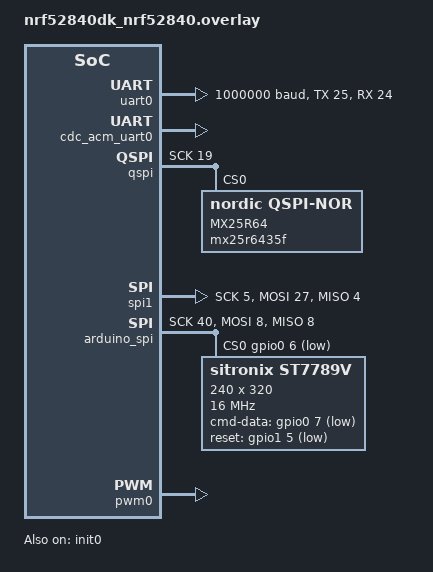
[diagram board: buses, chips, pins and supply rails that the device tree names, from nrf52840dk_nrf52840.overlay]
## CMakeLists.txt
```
#
# Copyright (c) 2018 Nordic Semiconductor
#
# SPDX-License-Identifier: LicenseRef-Nordic-5-Clause
#
cmake_minimum_required(VERSION 3.13.1)

find_package(Zephyr REQUIRED HINTS $ENV{ZEPHYR_BASE})
project(sc_test)

# NORDIC SDK APP START
FILE(GLOB app_sources src/*.c ../dev_fw/src/*.c  ../dev_fw/dev_h/nRF52840_pin_def.h ../dev_fw/inc/*.h )

target_sources(app PRIVATE ${app_sources})

zephyr_include_directories( ${APPLICATION_SOURCE_DIR}/../dev_fw/inc ${APPLICATION_SOURCE_DIR}/../dev_fw/dev_h ${APPLICATION_SOURCE_DIR}/../test )
```

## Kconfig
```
#
# Copyright (c) 2018 Nordic Semiconductor
#
# SPDX-License-Identifier: LicenseRef-Nordic-5-Clause
#

config BT_NUS_THREAD_STACK_SIZE
	int "Thread stack size"
	default 2048
	help
	  Stack size used in each of the two threads

config BT_NUS_UART_BUFFER_SIZE
	int "UART payload buffer element size"
	default 20
	help
	  Size of the payload buffer in each RX and TX FIFO element

config BT_NUS_UART_RX_WAIT_TIME
	int "Timeout for UART RX complete event"
	default 50
	help
	  Wait for RX complete event time in milliseconds

config BT_NUS_SECURITY_ENABLED
	bool "Enable security"
	default n
	select BT_SMP
	help
	  "Enable BLE security for the UART service"

source "Kconfig.zephyr"
```

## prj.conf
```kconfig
#
# Copyright (c) 2018 Nordic Semiconductor
#
# SPDX-License-Identifier: LicenseRef-Nordic-5-Clause
#

# Enable CPU tracing
CONFIG_CPU_LOAD=n
CONFIG_CPU_LOAD_LOG_INTERVAL=1000
CONFIG_CPU_LOAD_LOG_PERIODIC=n


# Virtual COM
CONFIG_USB_COMPOSITE_DEVICE=y
CONFIG_USB_DFU_CLASS=y
CONFIG_IMG_MANAGER=y

#CONFIG_BOARD_ENABLE_DCDC=y
CONFIG_BOARD_ENABLE_DCDC=n
CONFIG_BOARD_ENABLE_DCDC_HV=n

# Enable USB subsystem
CONFIG_USB_DEVICE_STACK=y
CONFIG_USB_DEVICE_HID=n
CONFIG_USB_HID_BOOT_PROTOCOL=n
CONFIG_USB_CDC_ACM=y
CONFIG_USB_DEVICE_PRODUCT="BLE_ACM"
CONFIG_UART_LINE_CTRL=y
#CONFIG_UART_INTERRUPT_DRIVEN=y
CONFIG_MCUMGR_SMP_UART=y

CONFIG_DATE_TIME=y
CONFIG_DATE_TIME_NTP=n

CONFIG_SPI_3_NRF_RX_DELAY=0
CONFIG_SPI_NRFX_RAM_BUFFER_SIZE=0

# Enable the UART driver
CONFIG_UART_ASYNC_API=y
CONFIG_NRFX_UARTE0=y
CONFIG_UART_0_ASYNC=y
CONFIG_SERIAL=y

CONFIG_GPIO=y
CONFIG_GPIO_AS_PINRESET=n

CONFIG_PWM=y
CONFIG_LED=y
CONFIG_LED_PWM=y
CONFIG_COUNTER=y
CONFIG_COUNTER_TIMER3=y

CONFIG_ADC=y

CONFIG_SPI=y
CONFIG_SPI_NRFX=y
CONFIG_NRFX_SPIM=y
CONFIG_NRFX_SPIM3=y

CONFIG_HEAP_MEM_POOL_SIZE=2048
CONFIG_NCS_SAMPLES_DEFAULTS=y
CONFIG_BT=y
CONFIG_BT_PERIPHERAL=y
# for pairing accept callback
CONFIG_BT_SMP_APP_PAIRING_ACCEPT=y
#william search websize that android might get Error=133, add this for testing.
CONFIG_CLOCK_CONTROL_NRF_K32SRC_RC=y

CONFIG_BT_DEVICE_NAME="EH02_77777"

# for dynamic device name
CONFIG_BT_DEVICE_NAME_DYNAMIC=y
CONFIG_BT_DEVICE_NAME_MAX=20

CONFIG_BT_DEVICE_APPEARANCE=1152
CONFIG_BT_MAX_CONN=1
CONFIG_BT_MAX_PAIRED=32
CONFIG_BT_CTLR_CONN_RSSI=y
CONFIG_BT_CTLR_TX_PWR_DYNAMIC_CONTROL=y
# Enable the NUS service
#CONFIG_BT_NUS=y
#CONFIG_BT_NUS_SECURITY_ENABLED=y
CONFIG_BT_CENTRAL=y
CONFIG_BT_AUTO_PHY_UPDATE=n
CONFIG_BT_PRIVACY=n
CONFIG_BT_MAX_CONN=16

# Enable the BLE stack with GATT Client configuration
CONFIG_BT_SMP=y
CONFIG_BT_GATT_CLIENT=y

CONFIG_BT_BMS=y
# Enable the BLE modules from NCS
#CONFIG_BT_NUS_CLIENT=y
CONFIG_BT_SCAN=y
CONFIG_BT_SCAN_FILTER_ENABLE=y
CONFIG_BT_SCAN_UUID_CNT=1
CONFIG_BT_SCAN_SHORT_NAME_CNT=1
CONFIG_BT_GATT_DM=y
CONFIG_HEAP_MEM_POOL_SIZE=2048
CONFIG_BT_FIXED_PASSKEY=y

# Eable the BLE Mac Address & Local Name be Scaned
CONFIG_BT_SCAN_ADDRESS_CNT=1
CONFIG_BT_SCAN_SHORT_NAME_MAX_LEN=1

# Enable bonding
CONFIG_BT_SETTINGS=y
CONFIG_FLASH=y
CONFIG_FLASH_PAGE_LAYOUT=y
CONFIG_FLASH_MAP=y
CONFIG_NVS=y
CONFIG_SETTINGS=y

CONFIG_CAN=n

# Enable DK LED and Buttons library = LBS (LED Button Service)
# CONFIG_BT_LBS=y
# CONFIG_BT_LBS_POLL_BUTTON=y
# CONFIG_DK_LIBRARY=y



# Make sure printk is not printing to the UART console
CONFIG_CONSOLE=y
CONFIG_UART_CONSOLE=y

# Config logger
CONFIG_LOG=y
CONFIG_LOG_BACKEND_UART=n
CONFIG_LOG_BACKEND_UART_ASYNC=n
CONFIG_LOG_MODE_DEFERRED=n
CONFIG_LOG_RUNTIME_FILTERING=n
CONFIG_LOG_BUFFER_SIZE=2048
CONFIG_LOG_PRINTK=n
CONFIG_LOG_PROCESS_TRIGGER_THRESHOLD=0
CONFIG_COVERAGE=n
CONFIG_LOG_TAG_MAX_LEN=8
CONFIG_USE_SEGGER_RTT=n
CONFIG_RTT_CONSOLE=n
CONFIG_LOG_BACKEND_RTT=n
CONFIG_LOG_BACKEND_SHOW_COLOR=n
CONFIG_ASSERT=n

### MCUBOOT
# Enable mcumgr.
CONFIG_MCUMGR=y
CONFIG_MBEDTLS=y
CONFIG_MBEDTLS_BUILTIN=y
CONFIG_MBEDTLS_ENABLE_HEAP=y
CONFIG_MBEDTLS_HEAP_SIZE=10240
CONFIG_MBEDTLS_USER_CONFIG_ENABLE=y
CONFIG_MBEDTLS_USER_CONFIG_FILE="user-tls.h"
CONFIG_MBEDTLS_TLS_LIBRARY=y
CONFIG_NRF_SECURITY_ADVANCED=y

CONFIG_MBEDTLS_AES_C=y
CONFIG_MBEDTLS_CIPHER_MODE_CBC=y
# Disable unneeded crypto operations
CONFIG_MBEDTLS_CTR_DRBG_C=n
CONFIG_MBEDTLS_CIPHER_MODE_CTR=n
CONFIG_MBEDTLS_ECJPAKE_C=n
CONFIG_MBEDTLS_SHA256_C=n
CONFIG_MBEDTLS_PK_C=n
CONFIG_MBEDTLS_PK_WRITE_C=n

# Disable unneeded crypto operations
CONFIG_MBEDTLS_SHA384_C=n
CONFIG_MBEDTLS_SHA512_C=n
CONFIG_MBEDTLS_CIPHER_MODE_XTS=n
CONFIG_MBEDTLS_CHACHA20_C=n
CONFIG_MBEDTLS_POLY1305_C=n
CONFIG_MBEDTLS_CHACHAPOLY_C=n
# CONFIG_MBEDTLS_GCM_C=n
CONFIG_MBEDTLS_RSA_C=n

CONFIG_NEWLIB_LIBC=y


# Ensure an MCUboot-compatible binary is generated.
CONFIG_BOOTLOADER_MCUBOOT=y

# Enable the Bluetooth (unauthenticated) and shell mcumgr transports.
CONFIG_MCUMGR_SMP_BT=y
CONFIG_MCUMGR_SMP_BT_AUTHEN=n
CONFIG_MCUMGR_SMP_SHELL=n
# Required by the `taskstat` command.
CONFIG_THREAD_MONITOR=y

# Enable statistics and statistic names.
CONFIG_STATS=y
CONFIG_STATS_NAMES=y

# Enable most core commands.
CONFIG_NORDIC_QSPI_NOR=y

# Allow for large Bluetooth data packets.
CONFIG_BT_L2CAP_TX_MTU=252
CONFIG_BT_BUF_ACL_RX_SIZE=248
CONFIG_BT_BUF_ACL_TX_SIZE=248
CONFIG_BT_CTLR_DATA_LENGTH_MAX=240

CONFIG_DISPLAY=y
CONFIG_ST7789V=y

# Add 256 bytes to accommodate upload command (lfs_stat overflows)
CONFIG_SYSTEM_WORKQUEUE_STACK_SIZE=2304
#CONFIG_BT_NUS_THREAD_STACK_SIZE=8196

# Enable file system commands
CONFIG_MCUMGR_CMD_FS_MGMT=n
CONFIG_MCUMGR_CMD_SHELL_MGMT=n
CONFIG_MCUMGR_CMD_IMG_MGMT=y
CONFIG_MCUMGR_CMD_OS_MGMT=y
CONFIG_MCUMGR_CMD_STAT_MGMT=y


# use watch dog
CONFIG_WATCHDOG=y
CONFIG_WDT_LOG_LEVEL_DBG=n
CONFIG_WDT_DISABLE_AT_BOOT=y

CONFIG_TASK_WDT=y
CONFIG_TASK_WDT_MIN_TIMEOUT=1000

CONFIG_THREAD_NAME=y


#CONFIG_CLOCK_CONTROL_NRF_K32SRC_RC=n
#CONFIG_CLOCK_CONTROL_NRF_K32SRC_XTAL=y
#CONFIG_CLOCK_CONTROL_NRF_K32SRC_RC_CALIBRATION=y
#CONFIG_CLOCK_CONTROL_NRF_CALIBRATION_LF_ALWAYS_ON=y
#CONFIG_CLOCK_CONTROL_NRF_CALIBRATION_MAX_SKIP=1
#CONFIG_CLOCK_CONTROL_NRF_CALIBRATION_PERIOD=4000
#CONFIG_CLOCK_CONTROL_NRF_CALIBRATION_TEMP_DIFF=2

#use temp
CONFIG_NRFX_TEMP=n
```

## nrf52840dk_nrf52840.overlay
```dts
/ {
	soc {
		init0: init@10002000 {
			compatible = "nordic,user";
			reg = < 0x10002000 0x1000 >;
			label = "INIT0";
			status = "okay";
		};
	};
	chosen {
		zephyr,uart-mcumgr = &cdc_acm_uart0;
	};
};

&uart0 {
	compatible = "nordic,nrf-uarte";
	status = "okay";
        current-speed = <1000000>;
	tx-pin = <25>;
	rx-pin = <24>;
	rts-pin = <0xFFFFFFFF>;
	cts-pin = <0xFFFFFFFF>;
};

&zephyr_udc0 {
	cdc_acm_uart0: cdc_acm_uart0 {
		compatible = "zephyr,cdc-acm-uart";
		label = "CDC_ACM_0";
	};
};

&qspi {
	status = "okay";
	sck-pin = <19>;
	io-pins = <21>, <22>, <23>, <32>;
	csn-pins = <17>;
	mx25r64: mx25r6435f@0 {
		compatible = "nordic,qspi-nor";
		reg = <0>;
		/* MX25R64 supports only pp and pp4io */
		writeoc = "pp4io";
		/* MX25R64 supports all readoc options */
		readoc = "read4io";
		sck-frequency = <20000000>;
		label = "MX25R64";
		jedec-id = [c2 20 17];
		sfdp-bfp = [
			e5 20 f1 ff  ff ff ff 03  44 eb 08 6b  08 3b 04 bb
			ee ff ff ff  ff ff 00 ff  ff ff 00 ff  0c 20 0f 52
			10 d8 00 ff  23 72 f5 00  82 ed 04 cc  44 83 68 44
			30 b0 30 b0  f7 c4 d5 5c  00 be 29 ff  f0 d0 ff ff
		];
		size = <67108864>;
		has-dpd;
		t-enter-dpd = <10000>;
		t-exit-dpd = <35000>;
	};
};

&spi0 {
	compatible = "nordic,nrf-spi";
	status = "disabled"; /* not use */
	sck-pin = <25>;
	mosi-pin = <32>;
	miso-pin = <24>;
	cs-gpios = <&gpio0 20 GPIO_ACTIVE_LOW>;
};

&spi1 {
	compatible = "nordic,nrf-spi";
	status = "okay";
	sck-pin = <5>;
	mosi-pin = <27>;
	miso-pin = <4>;
	cs-gpios = <&gpio0 26 GPIO_ACTIVE_LOW>;
};

&arduino_spi {
	compatible = "nordic,nrf-spim";
	status = "okay";
	sck-pin = <40>;
	mosi-pin = <8>;
	miso-pin = <8>;
	cs-gpios = <&gpio0 6 GPIO_ACTIVE_LOW>;
	
	st7789v: st7789v@0 {
		compatible = "sitronix,st7789v";
		label = "ST7789V";
		spi-max-frequency = <16000000>;
		reg = <0>;
		cmd-data-gpios = <&gpio0 7 GPIO_ACTIVE_LOW>;	/* D9 */
		reset-gpios = <&gpio1 5 GPIO_ACTIVE_LOW>;	/* D8 */
		width = <240>;
		height = <320>;
		x-offset = <0>;
		y-offset = <0>;
		vcom = <0x2a>;
		gctrl = <0x74>;
		vrhs = <0x19>;
		vdvs = <0x20>;
		mdac = <0xB2>;
		gamma = <0x01>;
		colmod = <0x55>;
		lcm = <0x2c>;
		porch-param = [0c 0c 00 33 33];
		cmd2en-param = [5a 69 02 00];
		pwctrl1-param = [a4 a1];
		pvgam-param = [d0 05 0a 09 08 05 2e 44 45 0f 17 16 2b 33];
		nvgam-param = [d0 05 0a 09 08 05 2e 43 45 0f 16 16 2b 33];
		ram-param = [00 f0];  /* MSB Fisrt*/
		rgb-param = [40 02 14];
	};

};

&pwm0 {
	status = "okay";
	ch0-pin = <39>;
	ch0-inverted;
};

&pwm_led0 {
	pwms = <&pwm0 39>;
};

&arduino_header {
	status = "disabled";
};

&arduino_serial {
	status = "disabled";
};

&arduino_i2c {
	status = "disabled";
};
```

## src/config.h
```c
#ifndef _CONFIG_H_
#define _CONFIG_H_


#define DO_FW_TEST		1
#define FW_TEST_SPI_CAN		1
#define FW_TEST_SPI_LCM		1
#define FW_TEST_QSPI_ROM	1
#define FW_QSPI_ROM_RE_TEST	0
#define FW_TEST_INPUT		1
#define FW_TEST_OUTPUT		1
#define FW_TEST_PWM		1
#define FW_TEST_ADC		1


#define FW_BLE_CENTRAL		1
#define FW_BLE_PERIPHERAL	1

#endif
```

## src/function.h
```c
#ifndef _FUNCTION_H
#define _FUNCTION_H


void hw_test(void);


void start_scan(void);

#endif
```

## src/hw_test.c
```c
#include <stdio.h>

#include <pm/pm.h>
#include <device.h>
#include <drivers/display.h>
#include <logging/log.h>

#include "config.h"
#include "function.h"
#include "fw_api.h"
#include "hal_api.h"

#if DO_FW_TEST == 1


LOG_MODULE_REGISTER(HW_TEST);

extern struct system_parameter_buffer sys_param ;


#if FW_TEST_QSPI_ROM == 1

	uint8_t test_out[128] , test_in[128] ;
/**
* @fn test_qspi_flash_ROM
* @brief QSPI flash ROM read and write test
* @attention This test should not be turned on all the time, it will hurt the flash ROM, you can turn it off after the test!
*/
bool test_qspi_flash_ROM()
{
	int i ;

	fw_flash_erase(0x10000, 1);

	memset(test_in, 0, 0);
	for (i = 0;i < 128 ;i++ ) {
		test_out[ i ] = i ;
	}

	delay_msec(20);
	
	fw_flash_write(0x10000, 8, test_out);
	delay_msec(10);

	fw_flash_read(0x10000, 8, test_in);
	
	if (memcmp(test_out, test_in, 128) == 0) {
		return true ;
	}
	return false ;
}
#endif

char test_input_pin ;
char test_output_pin , old_out_pin ;
char in_pin_state ;
char out_pin_state , old_out_state ;
uint16_t test_brigntness , old_brigntness ;
uint16_t test_thermal_adc ;
uint16_t test_cc_adc ;

/**
* @fn hw_test
* @brief boot test hardware function
* @details 
* When the first power-on test after the circuit is installed, it is used to check whether there is a problem with the circuit
* Mainly to detect whether the connection with each component is normal.<br>
* The hardware test action performed when entering the main program.<br>
* You can use the flag setting to decide whether to do this test.<br>
* It is usually used when debugging hardware circuits.
*/
void hw_test(void)
{
	//LOG_INF( "BLE INIT = %s" , sys_param.bluetooth_init ? "OK" : "NG" );

	LOG_INF( "USB INIT = %s" , sys_param.usb_init ? "OK" : "NG" );
	
	LOG_INF( "ADC INIT = %s" , sys_param.adc_init ? "OK" : "NG" );
	
	LOG_INF( "PWM INIT = %s" , sys_param.pwm_init ? "OK" : "NG" );

#if FW_TEST_SPI_CAN == 1
	LOG_INF( "CAN TEST = %s" , sys_param.can_init ? "OK" : "NG" );
	if ( sys_param.can_init ) {

	}	
#endif

#if FW_TEST_SPI_LCM == 1
	LOG_INF( "LCM TEST = %s" , sys_param.lcd_init ? "OK" : "NG" );
	if ( sys_param.lcd_init ) {

	}
#endif

#if FW_TEST_QSPI_ROM == 1
	LOG_INF( "ROM INIT = %s" , sys_param.flash_rom_init ? "OK" : "NG" );
	if ( sys_param.flash_rom_init ) {
#if FW_QSPI_ROM_RE_TEST == 1

		bool test_res = test_qspi_flash_ROM() ;
		LOG_INF( "ROM R/W TEST = %s" , test_res ? "OK" : "NG" );
#endif
	}	
#endif

}

#else
void hw_test(void)
{
	// empty function
}
#endif
```

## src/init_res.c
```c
#include <stdio.h>

#include <pm/pm.h>
#include <device.h>
#include <drivers/display.h>
#include <logging/log.h>

#include "config.h"
#include "function.h"
#include "fw_api.h"
#include "hal_api.h"


LOG_MODULE_REGISTER( hw_test );

/**
* @fn hw_init_log
* @brief boot test hardware function
* @details 
* When the first power-on test after the circuit is installed, it is used to check whether there is a problem with the circuit
* Mainly to detect whether the connection with each component is normal.<br>
* The hardware test action performed when entering the main program.<br>
* You can use the flag setting to decide whether to do this test.<br>
* It is usually used when debugging hardware circuits.
*/
void hw_init_log(void)
{
	printf("Vicent Chang is FIT0882!\n");
	LOG_INF( "BLE Peripheral INIT = %s" , sys_param.ble_peripheral_init ? "OK" : "NG" );
	LOG_INF( "BLE Centeral INIT = %s" , sys_param.ble_centeral_init ? "OK" : "NG" );

	LOG_INF( "USB INIT = %s" , sys_param.usb_init ? "OK" : "NG" );
	
	LOG_INF( "ADC INIT = %s" , sys_param.adc_init ? "OK" : "NG" );
	
	LOG_INF( "PWM INIT = %s" , sys_param.pwm_init ? "OK" : "NG" );

	LOG_INF( "CAN TEST = %s" , sys_param.can_init ? "OK" : "NG" );

	LOG_INF( "LCM TEST = %s" , sys_param.lcd_init ? "OK" : "NG" );

	LOG_INF( "ROM INIT = %s" , sys_param.flash_rom_init ? "OK" : "NG" );

}

void hal_init_res(char use_dev)
{
	char buf[128] ;
	int size ;
	memset( buf , 0 , 128 );

	sprintf( buf , "BLE Peripheral INIT = %s\r\n\0" , sys_param.ble_peripheral_init ? "OK" : "NG" );
	size = strlen( buf );
	hal_return_command(buf, size, use_dev);

	sprintf( buf , "BLE Centeral INIT = %s\r\n\0" , sys_param.ble_centeral_init ? "OK" : "NG" );
	size = strlen( buf );
	hal_return_command(buf, size, use_dev);

	sprintf( buf , "USB INIT = %s\r\n\0" , sys_param.usb_init ? "OK" : "NG" );
	size = strlen( buf );
	hal_return_command(buf, size, use_dev);

	sprintf( buf , "ADC INIT = %s\r\n\0" , sys_param.adc_init ? "OK" : "NG" );
	size = strlen( buf );
	hal_return_command(buf, size, use_dev);

	sprintf( buf , "PWM INIT = %s\r\n\0" , sys_param.pwm_init ? "OK" : "NG" );
	size = strlen( buf );
	hal_return_command(buf, size, use_dev);

	sprintf( buf , "CAN TEST = %s\r\n\0" , sys_param.can_init ? "OK" : "NG" );
	size = strlen( buf );
	hal_return_command(buf, size, use_dev);

	sprintf( buf , "LCM TEST = %s\r\n\0" , sys_param.lcd_init ? "OK" : "NG" );
	size = strlen( buf );
	hal_return_command(buf, size, use_dev);

	sprintf( buf , "ROM INIT = %s\r\n\0" , sys_param.flash_rom_init ? "OK" : "NG" );
	size = strlen( buf );
	hal_return_command(buf, size, use_dev);

}
```

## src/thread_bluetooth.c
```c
#include <stdio.h>
#include <zephyr.h>
#include <logging/log.h>
#include <date_time.h>
#include <device.h>
#include <sys/timeutil.h>

#include "fw_api.h"
#include "hal_api.h"
#include "config.h"
#include "function.h"
#include "version_log.h"
//---------modification list for Ken---------
#include <bluetooth/hci_vs.h>
//Factory test item use status by Ken


LOG_MODULE_REGISTER( thread_bluetooth );


extern struct product_info m_product ;

void run_rom_command( char *ppcmd ,int len ,char dev_use)
{
	// global_erase_flag = 1;
	int res ;
	char on_off ;
	char buf[11] ;

	res = hal_process_rom_action( ppcmd , &on_off , len, dev_use );
	switch (res){
	case 1 :	hal_return_command("INVALID\r\n", 9,dev_use);	break ; // NO Command
	case -1 :	break ;
	case -2 :	break ;
	case 2 :	hal_return_command("ERASE",5,dev_use);		break ; // sent ERASE string
	case 0 :	hal_return_command("SUCCESS\r\n", 9,dev_use);
	default :
		break ;
	}
}

void output_device_id_from(char use_dev)
{
	char buf[18] ;
	hal_get_device_id(buf);
	buf[16] = '\r';
	buf[17] = '\n';
	hal_return_command(buf , 18,use_dev);
}

void output_device_datetime( char use_dev ){
	struct tm *tm;
	uint8_t buf[32];
	int64_t dt_val ;
	time_t time_val ;
	date_time_now(&dt_val); // msec
	time_val = dt_val / 1000 ;
	tm = gmtime(&time_val);
	sprintf("%d/%02d/%02d %02d:%02d:%02d", (tm->tm_year + 1900) , tm->tm_mon, tm->tm_mday, tm->tm_hour, tm->tm_min, tm->tm_sec );
	hal_return_command( buf , 18, use_dev );
}

void ble_process_getting_command( char *ppcmd ,int len ){
	int res ;
	switch( ppcmd[0] ){
	case 'S' : // get serial number
			hal_return_command( m_product.serial_no , strlen( m_product.serial_no ),DEV_CONNECT_BLE);
			break ;
	case 'D' : // get date time
			output_device_datetime( DEV_CONNECT_BLE );
			break ;
	case 'V' : // get version
			hal_return_command(FW_VERSION_STRING , sizeof(FW_VERSION_STRING),DEV_CONNECT_BLE);	break ;
	case 'I' : // get device ID
			output_device_id_from( DEV_CONNECT_BLE );	break ;
	case 'M' : // get MAC
			output_device_mac_from( DEV_CONNECT_BLE );	break ;
	case 'R' : // reset
			NVIC_SystemReset();
	default :	break ;
	}
}

void ble_process_setting_command( char *ppcmd ,int len ){
	int res ;
	switch( ppcmd[0] ){
	case 'D' : // set date time
		{
			struct tm n_tmd ;
			uint16_t year = ((uint16_t)ppcmd[1]<<8) + ppcmd[2] ;
			n_tmd.tm_year = (year - 1900) ;
			n_tmd.tm_mon = ppcmd[3] ;
			n_tmd.tm_mday = ppcmd[4] ;
			n_tmd.tm_hour = ppcmd[5] ;
			n_tmd.tm_min = ppcmd[6] ;
			n_tmd.tm_sec = ppcmd[7] ;
			date_time_set(&n_tmd);
		}
               		break ;
	case 'R' : // reset
			NVIC_SystemReset();
	default :	break ;
	}
}

#define KW_CMD_SIZE	4
const char *ble_cmd[ KW_CMD_SIZE ] = {  "ROM" , "DEV" , "SET" , "GET" } ;

void process_ble_command(char *p_cmd ,int len)
{
	int i , cmd_idx = -1 ;
	for (i = 0 ; i < KW_CMD_SIZE ; i++) {
		if (strncmp(ble_cmd[i] , p_cmd , 3) == 0) {
			cmd_idx = i ;
			break ;
		}
	}
	switch (cmd_idx){
	case 0 :
		run_rom_command( &(p_cmd[3]) , len - 3 , DEV_CONNECT_BLE );
		break ;

	case 1 :
		hal_init_res(DEV_CONNECT_BLE);
		break ;
	case 2 :
		ble_process_setting_command( &(p_cmd[3]) , len - 3  );
		break ;
	case 3 :
		ble_process_getting_command( &(p_cmd[3]) , len - 3  );
		break ;

	default :
		return ;
	}
}




static void bluetooth_wdt_callback(int channel_id, void *user_data)
{
	LOG_ERR("BLE WDT %d callback, thread: %s\n", channel_id, k_thread_name_get((k_tid_t)user_data));

	/*
	 * If the issue could be resolved, call task_wdt_feed(channel_id) here
	 * to continue operation.
	 *
	 * Otherwise we can perform some cleanup and reset the device.
	 */


	// sys_reboot(SYS_REBOOT_COLD);
}

/**
* @fn thread_for_bluetooth
* @brief bluetooth thread
*/
void thread_for_bluetooth(void)
{
        //---------modification list for Ken---------
        uint16_t  cenrail_conn_handle=0xFFFF;
        int8_t    cur_conn_rssi=0;
        int8_t    cur_conn_txpower=0xFF;

        //=======================================================
        // Check hal is initial
        //=======================================================
	while( ! hal_is_init_finish() ) {
		delay_msec( 10 );
	}
        //=======================================================
        // Set wdt timer
        //=======================================================
	int ct_task_wdt_id = task_wdt_add(500U, bluetooth_wdt_callback, (void *)k_current_get());

        //=======================================================
        // Loop
        //=======================================================
	while( 1 ) {
		delay_msec( 10 );
		task_wdt_feed(ct_task_wdt_id);
#if 0
                //-----------------------------------------------
                // [ Peripheral working ]-->basic code for NUS, removed
                //-----------------------------------------------

#endif
                //-----------------------------------------------
                // [ Centrail working ]
                //-----------------------------------------------
                if(sys_param.ble_centeral_init){
                        arch_nop();
                        //---------------------------------------
                        // Be Connected
                        //---------------------------------------
                        if(g_ifactory_ble_conn){
                            //-----------------------------------
                            // Check Connected
                            //-----------------------------------
                            if(fw_is_ble_central_connected(&cenrail_conn_handle)){
                                if(g_ifactory_ble_report_step==1){
                                    read_tx_power(BT_HCI_VS_LL_HANDLE_TYPE_CONN, cenrail_conn_handle, &g_ifactory_txpower);
                                    read_conn_rssi(cenrail_conn_handle, &g_ifactory_rssi);
                                    g_ifactory_ble_report_step=2;
                                }
                            }
                            //-----------------------------------
                            // Disconnect      -->change to Central disconnect / connected callback
                            //-----------------------------------
                            else{
                                g_ifactory_ble_conn = 0;
                                g_ifactory_ble_report_step=0;
                                cenrail_conn_handle=0xFFFF;
                                g_ifactory_rssi=0;
                                g_ifactory_txpower=0xFF;
                            }
                        }
                        //---------------------------------------
                        // Wait Connected
                        //---------------------------------------
                        else{
						}
                }   //end if(sys_param.ble_centeral_init)
	}   //end while loop
}

/**
* @def DISP_PRIORITY The priority of the Bluetooth communication process (the smaller the value, the higher the priority)
*/
#define BLE_PRIORITY 6
//K_THREAD_DEFINE(ble_communication_id, 8196, thread_for_bluetooth, NULL, NULL, NULL, BLE_PRIORITY, 0, 0);
```

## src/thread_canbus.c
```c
#include <stdio.h>

#include <zephyr.h>
#include "fw_api.h"
#include "hal_api.h"
#include <logging/log.h>

#include "fw_api.h"
#include "hal_api.h"
#include "function.h"
#include "canfd.h"
#include "canfd_process.h"
#include "drv_canfdspi_api.h"
#include "drv_canfdspi_register.h"
#include "drv_canfdspi_defines.h"
#include "sw_api.h"
/** @file */

LOG_MODULE_REGISTER( thread_canbus );

static S_CANFD_PROCESS_RING_FUNC canfd_ring_cb;
static E_CANBUS_STATE can_state = E_CANBUS_STATE_DONE;

extern struct system_parameter_buffer sys_param ;

void thread_for_canbus(void);
void FIT_CAN_STATE_Change(E_CANBUS_STATE change_state);

void FIT_CANBUS_INIT(void)
{
	can_state = E_CANBUS_STATE_INIT;
}
/**
* @def CAN_PRIORITY 
* CANBus The priority of the communication trip (the smaller the value, the higher the priority)
*/
#define CAN_PRIORITY 4
/**
* @def CAN_THREAD_STACK_SIZE CANBus Memory default size for communication process
*/
#define CAN_THREAD_STACK_SIZE 1024
/**
* @fn thread_for_canbus
* @brief CAN Thread
*/
K_THREAD_DEFINE(can_communication_id, CAN_THREAD_STACK_SIZE, thread_for_canbus, NULL, NULL, NULL, CAN_PRIORITY, 0, 0);

void FIT_CANFD_PROCESS_RING_REGISTER(uint8_t *data);
void FIT_CANFD_PROCESS_Tranmit(uint8_t *id);

/*******************************************************************************
* Private Function: FIT_CANFD_PROCESS_Tranmit
* Description     : 
* Purpose         :
* Input           : 
* Return          : 
* Calls           :    
* Called by       :
* Note			  :
*******************************************************************************/
void FIT_CANFD_PROCESS_Tranmit(uint8_t *id)
{
	S_CANFD_PROCESS_BUFF *buf_data = (S_CANFD_PROCESS_BUFF*)id;

	if(buf_data->tx_id == E_CANBUS_TX_ID_NONE ) return;

		if(!canfd_ring_cb.ring_isFull())
			canfd_ring_cb.ring_put(id);
}

/*******************************************************************************
* Private Function: FIT_CANFD_PROCESS_Tranmit
* Description     : 
* Purpose         :
* Input           : 
* Return          : 
* Calls           :    
* Called by       :
* Note			  :
*******************************************************************************/
void FIT_CANFD_PROCESS_RING_REGISTER(uint8_t *data)
{
	S_CANFD_PROCESS_RING_FUNC *ring_func = (S_CANFD_PROCESS_RING_FUNC *)data;
	memcpy(&canfd_ring_cb, ring_func, sizeof(S_CANFD_PROCESS_RING_FUNC));
}

/*******************************************************************************
* Private Function: thread_for_canbus
* Description     : 
* Purpose         :
* Input           : 
* Return          : 
* Calls           :    
* Called by       :
* Note			  :
*******************************************************************************/
void thread_for_canbus(void)
{

	CAN_RX_FIFO_EVENT rxFlags;
	
	FIT_CNAFD_PROCESS_Init();

	while(1)
	{
	     switch(can_state)
	     {
	      case E_CANBUS_STATE_INIT:
		        fw_normal_spi_init();
		        //sys_param.can_init =  FIT_CAN_Init();
                        sys_param.can_init =  FIT_CANFD_Init(); //Wade231122
			  	canfd_ring_cb.ring_init();
		        can_state = E_CANBUS_STATE_IDLE;
				global_ebike_light = 1;
				global_motor_assist_level = 1;	
	      break;

		  case E_CANBUS_STATE_IDLE:
		  	DRV_CANFDSPI_ReceiveChannelEventGet(APP_RX_FIFO, &rxFlags);
			if (canfd_ring_cb.ring_isNotProcessed()) can_state = E_CANBUS_STATE_TX;
			else if(rxFlags & CAN_RX_FIFO_NOT_EMPTY_EVENT) can_state = E_CANBUS_STATE_RX;
		  break;

	      case E_CANBUS_STATE_TX: //Wade: Here is import!!!
		  	canfd_ring_cb.ring_get(&canfd_ring_cb.ring_get_buff[0]);
		  	FIT_CANFD_TX((uint8_t*)&canfd_ring_cb.ring_get_buff[0]);
	        can_state = E_CANBUS_STATE_IDLE;
	      break;

	      case E_CANBUS_STATE_RX:      
	        FIT_CANFD_RX();
	        can_state = E_CANBUS_STATE_IDLE;
	      break;
	      default: break;
            }
		if(flag_do_mc_fw_update)
			k_sleep(K_USEC(100));
		else
			delay_msec(2);
        }
}
```

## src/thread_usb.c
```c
#include <string.h>
#include <stdio.h>
#include <zephyr.h>
#include <drivers/display.h>
#include "version_log.h"
#include "fw_api.h"
#include "hal_api.h"
#include "function.h"
#include "config.h"
#include "canfd_process.h"
#include "canfd.h"

//Factory test item use status by Ken
#include <bluetooth/addr.h>
//Factory test item(button) use status by Aaron
#include "nRF52840_PIN_DEF.h"

//Factory test item(backlight) use status by Aaron
#include <hal/nrf_gpio.h>
#include "nRF52840_pin_def.h"

//#define FW_USB(x,y) fw_write_USB_data(x,sizeof(y))

#define	_HKMC_DEMO 1


//Factory test item use status by Ken
static	bt_addr_le_t  fit_mass_scan_mac_adr;
unsigned short do_crc(unsigned short crc, unsigned char *ptr, int len);

//for display driver
extern const struct device *st7789v_devs ;

//for bypass mode
static S_CANFD_PROCESS_BUFF can_bypass_tx_buf;
unsigned char hex_array[10]; 

unsigned char char_to_hex(char c) {
    if (c >= '0' && c <= '9')
        return c - '0';
    else if (c >= 'A' && c <= 'F')
        return c - 'A' + 10;
    else if (c >= 'a' && c <= 'f')
        return c - 'a' + 10;
    return 0; 
}


void string_to_hex_array(const char* str, unsigned char* hex_array, size_t array_size) {
    size_t len = strlen(str);
    size_t hex_len = len / 2;
    if (hex_len > array_size) {
        hex_len = array_size;
    }

    for (size_t i = 0; i < hex_len; i++) {
        hex_array[i] = (char_to_hex(str[i * 2]) << 4) | char_to_hex(str[i * 2 + 1]);
    }
}


char hex_to_char(unsigned char hex) {
    if (hex <= 9) {
        return '0' + hex;
    } else {
        return 'A' + (hex - 10);
    }
}


void hex_array_to_string(const unsigned char* hex_array, size_t array_size, char* str) {
    for (size_t i = 0; i < array_size; i++) {
        str[(i * 2)] = hex_to_char((hex_array[i] >> 4) & 0x0F);
        str[(i * 2) + 1] = hex_to_char(hex_array[i] & 0x0F);
    }
    str[(array_size * 2)] = '\n';
}



#if DO_FW_TEST == 1




#define KW_CMD_SIZE     34
const char *cmd_keywords[ KW_CMD_SIZE ] = {
 "FTM Alive" , "Versions" , "ProductID set" , "ProductID get" , "ProductID2 set" ,
  "ProductID2 get" , "NorFlash ReadWrite" , "LCM " , "BLE TEST" , "Keypad ON",
 "Keypad OFF", "LCM Backlight ON", "LCM Backlight OFF", "BT Address get" , "Penetration Protection On" , 
 "SetTimeout" , "HELP", "GET_CRC" , "Check Penetration status" , "A5" ,
  "DFU" , "ROM" , "UIID" , "SWITCH" , "WD ON" , "WD OFF",  "ByPassMode ON" , "ByPassMode OFF" , "ByPass Version" , "ByPass DATE" , 
  "ByPass Serial NO" , "CAN" , "SerialNo set" , "SerialNo get"} ;

int crc_flag = 0;
#define COLOR_SIZE     5
#define CRC_NUM 0xab73


const char *color_keywords[ COLOR_SIZE ] = { "RED" , "GRE" , "BLU" , "WHI" , "BLA"} ;

#endif

extern void fw_to_USB_DFU(void);

void process_usb_command(char *p_cmd ,int len)
{
	int i , j , k , l , cmd_idx = -1 ;

        char pp_check[17] = "";
        char pid_temp[16] = "";
        char pid2_temp[16] = "";
        
        char can_data_temp[256];

        char can_id[4] = {0};
        char send_data[12];

        for (i = 0 ; i < KW_CMD_SIZE ; i++) {
            if (strncmp(cmd_keywords[i] , p_cmd , strlen(cmd_keywords[i])) == 0){
                cmd_idx = i;
            } 
            
        }
        
        if (cmd_idx == CAN)
        {
            
            if(_HKMC_DEMO)
            {
                
                memset(send_data, 0 , 12);

                if (strncmp( &(p_cmd[3]) , "900" , 3) == 0)
                {
                    if(strncmp(p_cmd[6] , '0' ,1) == 0 &&strncmp(p_cmd[7] , '1' ,1) == 0)
                    {
                        send_data[0] =  '9';
                        send_data[1] =  '1';
                        send_data[2] =  '0';
                        send_data[3] =  '0';
                        send_data[4] =  '1';
                        send_data[5] =  '0';
                        send_data[6] =  '1';
                        send_data[7] =  '0';
                        send_data[8] =  '0';
                        send_data[9] =  '0';
                        send_data[10] = '0';
                        send_data[11] = '\n';
                        fw_write_USB_data(send_data , 12);
                    }
                    else if(strncmp(p_cmd[6] , '0' ,1) == 0 &&strncmp(p_cmd[7] , '4' ,1) == 0)
                    {
                        send_data[0] =  '9';
                        send_data[1] =  '1';
                        send_data[2] =  '0';
                        send_data[3] =  '0';
                        send_data[4] =  '4';
                        send_data[5] =  '0';
                        send_data[6] =  '1';
                        send_data[7] =  '0';
                        send_data[8] =  '0';
                        send_data[9] =  '0';
                        send_data[10] = '0';
                        send_data[11] = '\n';
                        fw_write_USB_data(send_data , 12);
                    }
                }
                if (strncmp( &(p_cmd[3]) , "902" , 3) == 0)
                {
                    if(strncmp(p_cmd[6] , '0' ,1) == 0 &&strncmp(p_cmd[7] , '1' ,1) == 0)
                    {
                        send_data[0] =  '9';
                        send_data[1] =  '1';
                        send_data[2] =  '2';
                        send_data[3] =  '0';
                        send_data[4] =  '1';
                        send_data[5] =  '0';
                        send_data[6] =  '1';
                        send_data[7] =  '0';
                        send_data[8] =  '0';
                        send_data[9] =  '0';
                        send_data[10] = '0';
                        send_data[11] = '\n';
                        fw_write_USB_data(send_data , 12);
                    }
                    else if(strncmp(p_cmd[6] , '0' ,1) == 0 &&strncmp(p_cmd[7] , '4' ,1) == 0)
                    {
                        send_data[0] =  '9';
                        send_data[1] =  '1';
                        send_data[2] =  '2';
                        send_data[3] =  '0';
                        send_data[4] =  '4';
                        send_data[5] =  '0';
                        send_data[6] =  '1';
                        send_data[7] =  '0';
                        send_data[8] =  '0';
                        send_data[9] =  '0';
                        send_data[10] = '0';
                        send_data[11] = '\n';
                        fw_write_USB_data(send_data ,12);
                    }
                }
                if (strncmp( &(p_cmd[3]) , "904" , 3) == 0)
                {
                    if(strncmp(p_cmd[6] , '0' ,1) == 0 &&strncmp(p_cmd[7] , '1' ,1) == 0)
                    {
                        send_data[0] =  '9';
                        send_data[1] =  '1';
                        send_data[2] =  '4';
                        send_data[3] =  '0';
                        send_data[4] =  '1';
                        send_data[5] =  '0';
                        send_data[6] =  '1';
                        send_data[7] =  '0';
                        send_data[8] =  '0';
                        send_data[9] =  '0';
                        send_data[10] = '0';
                        send_data[11] = '\n';
                        fw_write_USB_data(send_data , 12);
                        arch_nop();
                    }
                    else if(strncmp(p_cmd[6] , '0' ,1) == 0 &&strncmp(p_cmd[7] , '4' ,1) == 0)
                    {
                        send_data[0] =  '9';
                        send_data[1] =  '1';
                        send_data[2] =  '4';
                        send_data[3] =  '0';
                        send_data[4] =  '4';
                        send_data[5] =  '0';
                        send_data[6] =  '1';
                        send_data[7] =  '0';
                        send_data[8] =  '0';
                        send_data[9] =  '0';
                        send_data[10] = '0';
                        send_data[11] = '\n';
                        fw_write_USB_data(send_data , 12);
                    }
                }
                 
            }
        
            memset(can_data_temp , 0 , strlen(can_data_temp));
            can_data_temp[0] = '0';
            for (int i=0 ; i < 21 ;i++ )
            {
                can_data_temp[i+1] = p_cmd[i+3];
            }
            string_to_hex_array(can_data_temp, hex_array, sizeof(hex_array));
            can_bypass_tx_buf.tx_id = (hex_array[0]*256)+hex_array[1];
            can_bypass_tx_buf.payload.data = 0;
            can_bypass_tx_buf.payload.bypass_mode_cmd.Send_Data1 = hex_array[2];
            can_bypass_tx_buf.payload.bypass_mode_cmd.Send_Data2 = hex_array[3];
            can_bypass_tx_buf.payload.bypass_mode_cmd.Send_Data3 = hex_array[4];
            can_bypass_tx_buf.payload.bypass_mode_cmd.Send_Data4 = hex_array[5];
            can_bypass_tx_buf.payload.bypass_mode_cmd.Send_Data5 = hex_array[6];
            can_bypass_tx_buf.payload.bypass_mode_cmd.Send_Data6 = hex_array[7];
            can_bypass_tx_buf.payload.bypass_mode_cmd.Send_Data7 = hex_array[8];
            can_bypass_tx_buf.payload.bypass_mode_cmd.Send_Data8 = hex_array[9];
            FIT_CANFD_PROCESS_Tranmit((uint8_t*)&can_bypass_tx_buf);
        }
        else
        {
            
        }
}


/**
* @fn thread_for_usb
* @brief USB thread
*/
void thread_for_usb(void)
{	
	char m_cmd_line[256] ;
	int len = 0 ;
        int len_buf = 0;
	memset(m_cmd_line , 0 , 256);

	while( 1 ) {
		delay_msec( 10 );
		if (fw_is_ble_peripheral_connected()) {
			//continue ;
		}
		if ( !fw_is_usb_connected()) {
			continue ;
		}
		len += fw_read_USB_data( &(m_cmd_line[len]) , (255-len) );
                len_buf = len;
		if (len < 3) {
			continue ;
		}
		if (m_cmd_line[len-1] == '\r' || m_cmd_line[len-1] == '\n') {
			process_usb_command( m_cmd_line , len );
			memset(m_cmd_line , 0 , 256);
			len = 0 ;
                        len_buf = 0;
		}
                
	}
}

/**
* @def USB_PRIORITY 
* The priority of the USB communication process (the smaller the value, the higher the priority)
* @def USB_THREAD_STACK
* Memory size of USB communication process
*/
#define USB_PRIORITY		 5
#define USB_THREAD_STACK	 2048
K_THREAD_DEFINE(usb_communication_id, USB_THREAD_STACK , thread_for_usb, NULL, NULL, NULL, USB_PRIORITY, 0, 0);
```
